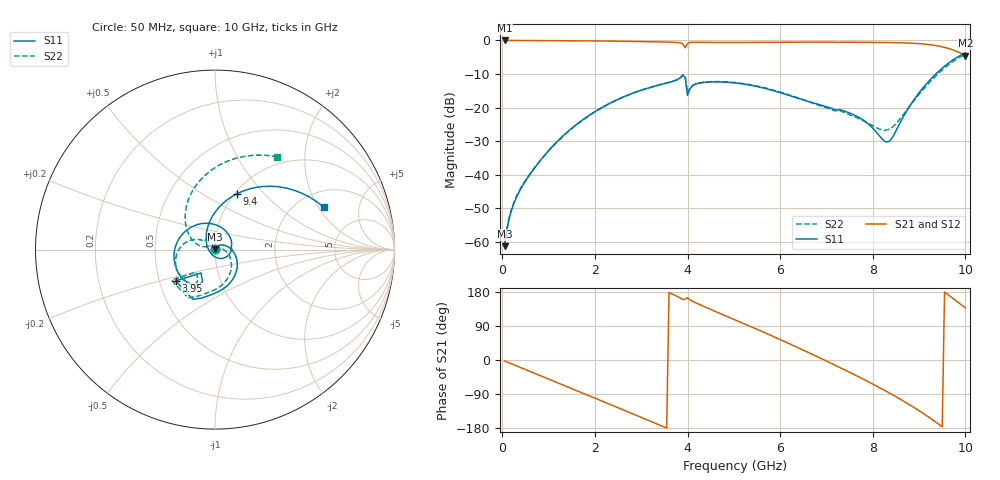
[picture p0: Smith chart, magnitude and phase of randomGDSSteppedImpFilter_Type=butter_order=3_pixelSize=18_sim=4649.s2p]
! freq	dB(S11)	phase(S11)	dB(S12)	phase(S12)
!  dB(S21)	phase(S21)	dB(S22)	phase(S22)
!S-par simulation data
#  GHz  S  DB  R 50
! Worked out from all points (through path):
!   200 points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, 50 MHz to 10 GHz, reference 50 ohm
!   highest |S21| = -0.01 dB at 50 MHz (marker M1); lowest = -4.5 dB at 10 GHz (marker M2)
!   group delay of S21, straight-line fit = 154 ps
!   lowest |S11| = -61.3 dB at 50 MHz (marker M3), VSWR 1.00, Z = 50 + j0.0767 ohm
!   |S11| at or under -10 dB: start of sweep to 9.362 GHz
!   |S22| runs from -61.1 to -4.1 dB; largest |S21 - S12| = 0
!   S11 on the Smith chart (normalised r, x): 50 MHz: 1.00, +0.00; 3.95 GHz: 0.61, -0.23; 9.4 GHz: 1.03, +0.72; 10 GHz: 2.75, +2.25
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0.05  -61.26 62.4  -0.01 -2.5  -0.01 -2.5  -61.11 60.2
0.2  -50.47 76.1  -0.02 -10.1  -0.02 -10.1  -50.23 65.4
0.45  -42.99 73.5  -0.03 -22.6  -0.03 -22.6  -42.73 51.1
1.15  -30.59 49.6  -0.07 -57.6  -0.07 -57.6  -30.69 16.3
1.75  -23.50 17.5  -0.12 -87.8  -0.12 -87.8  -23.60 -11.7
2.5  -17.52 -24.5  -0.23 -125.9  -0.23 -125.9  -17.56 -46.3
3.4  -13.21 -75.2  -0.44 -171.8  -0.44 -171.8  -13.20 -87.7
3.8  -11.54 -100.2  -0.63 166.6  -0.63 166.6  -11.49 -107.7
3.95  -11.05 -141.5  -2.20 161.1  -2.20 161.1  -10.56 -144.9
4  -16.36 -121.0  -0.88 164.1  -0.88 164.1  -15.73 -130.0
4.25  -12.72 -121.4  -0.56 146.8  -0.56 146.8  -12.65 -124.8
5.05  -12.70 -170.0  -0.60 105.0  -0.60 105.0  -12.58 -158.5
5.85  -14.93 133.8  -0.54 62.3  -0.54 62.3  -14.76 171.9
6.7  -18.55 57.9  -0.50 14.7  -0.50 14.7  -18.65 150.8
7.1  -20.17 18.3  -0.51 -8.6  -0.51 -8.6  -20.56 144.8
7.5  -21.61 -19.0  -0.53 -32.3  -0.53 -32.3  -22.11 137.0
7.95  -25.45 -65.4  -0.57 -60.3  -0.57 -60.3  -25.03 132.6
8.35  -30.09 -157.3  -0.63 -86.5  -0.63 -86.5  -26.47 153.2
8.85  -18.43 111.6  -0.83 -122.2  -0.83 -122.2  -18.61 161.0
9.4  -9.50 68.5  -1.61 -167.3  -1.61 -167.3  -10.05 118.2
9.65  -6.60 49.0  -2.45 169.9  -2.45 169.9  -7.09 92.9
10  -3.72 21.2  -4.51 137.7  -4.51 137.7  -4.11 56.1
